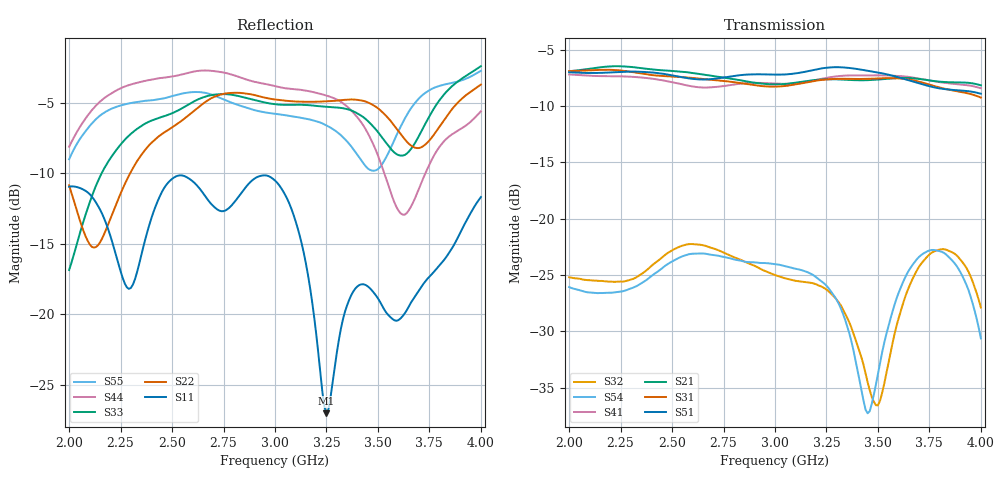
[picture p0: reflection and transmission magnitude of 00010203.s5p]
! Created with skrf 1.8.0 (http://scikit-rf.org).
# Hz S RI R 50.0
!freq ReS11 ImS11 ReS12 ImS12 ReS13 ImS13
! ReS14 ImS14 ReS15 ImS15
! ReS21 ImS21 ReS22 ImS22 ReS23 ImS23
! ReS24 ImS24 ReS25 ImS25
! ReS31 ImS31 ReS32 ImS32 ReS33 ImS33
! ReS34 ImS34 ReS35 ImS35
! ReS41 ImS41 ReS42 ImS42 ReS43 ImS43
! ReS44 ImS44 ReS45 ImS45
! ReS51 ImS51 ReS52 ImS52 ReS53 ImS53
! ReS54 ImS54 ReS55 ImS55
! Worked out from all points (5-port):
!   201 points, 2 GHz to 4 GHz, reference 50 ohm
!   strongest paths, dB at 2 GHz, 2.5 GHz, 3 GHz, 3.5 GHz, 4 GHz:
!     S51: -7.0, -7.3, -7.2, -7.0, -8.9
!     S31: -6.9, -7.4, -8.3, -7.6, -9.3
!     S21: -6.9, -6.9, -8.1, -7.7, -8.2
!     S41: -7.2, -7.9, -8.0, -7.3, -8.4
!     S54: -26.1, -23.8, -24.0, -33.8, -30.6
!     S32: -25.2, -22.8, -25.0, -36.6, -27.9
!   lowest |S11| = -27.0 dB at 3.25 GHz (marker M1), VSWR 1.09, Z = 50.3 + j4.47 ohm
!   |S11| at or under -10 dB: start of sweep to end of sweep
